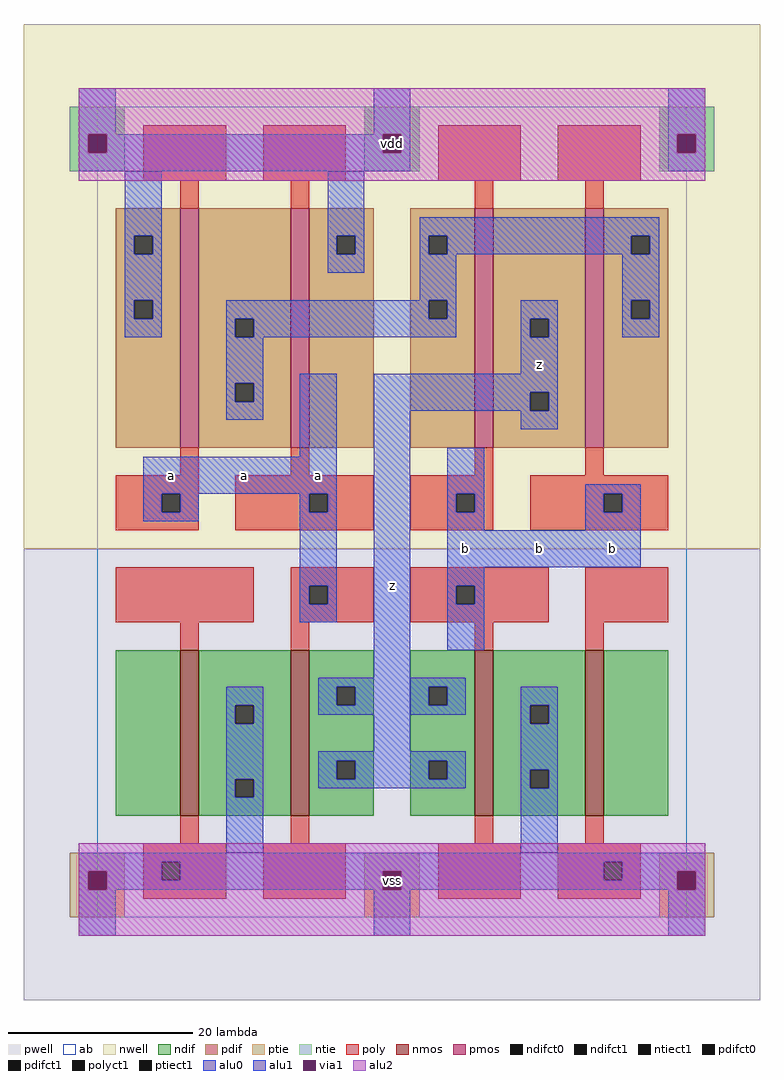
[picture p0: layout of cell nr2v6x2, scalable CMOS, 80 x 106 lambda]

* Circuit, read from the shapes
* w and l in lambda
.subckt nr2v6x2 a b vdd vss z
M1 vss vss n1 vss nfet w=18 l=2
M2 z a vss vss nfet w=18 l=2
M3 vss b z vss nfet w=18 l=2
M4 n2 vss vss vss nfet w=18 l=2
M5 n3 a vdd vdd pfet w=26 l=2 m=2
M6 z b n3 vdd pfet w=26 l=2 m=2
.ends

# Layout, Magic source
magic
tech scmos
<< ab >>
rect 0 0 64 88
<< nwell >>
rect -8 40 72 97
<< pwell >>
rect -8 -9 72 40
<< poly >>
rect 5 80 14 86
rect 18 80 27 86
rect 37 80 46 86
rect 50 80 59 86
rect 9 77 11 80
rect 21 77 23 80
rect 41 77 43 80
rect 53 77 55 80
rect 9 48 11 51
rect 21 48 23 51
rect 41 48 43 51
rect 53 48 55 51
rect 2 46 11 48
rect 2 44 7 46
rect 9 44 11 46
rect 2 42 11 44
rect 15 46 30 48
rect 15 44 23 46
rect 25 44 30 46
rect 15 42 30 44
rect 34 46 43 48
rect 34 44 39 46
rect 41 44 43 46
rect 34 42 43 44
rect 47 46 62 48
rect 47 44 55 46
rect 57 44 62 46
rect 47 42 62 44
rect 2 32 17 38
rect 21 36 30 38
rect 21 34 23 36
rect 25 34 30 36
rect 21 32 30 34
rect 34 36 49 38
rect 34 34 39 36
rect 41 34 49 36
rect 34 32 49 34
rect 53 32 62 38
rect 9 29 11 32
rect 21 29 23 32
rect 41 29 43 32
rect 53 29 55 32
rect 9 8 11 11
rect 21 8 23 11
rect 41 8 43 11
rect 53 8 55 11
rect 5 6 14 8
rect 5 4 7 6
rect 9 4 14 6
rect 5 2 14 4
rect 18 2 27 8
rect 37 2 46 8
rect 50 6 59 8
rect 50 4 55 6
rect 57 4 59 6
rect 50 2 59 4
<< ndif >>
rect 2 11 9 29
rect 11 23 21 29
rect 11 21 15 23
rect 17 21 21 23
rect 11 15 21 21
rect 11 13 15 15
rect 17 13 21 15
rect 11 11 21 13
rect 23 25 30 29
rect 23 23 26 25
rect 28 23 30 25
rect 23 17 30 23
rect 23 15 26 17
rect 28 15 30 17
rect 23 11 30 15
rect 34 25 41 29
rect 34 23 36 25
rect 38 23 41 25
rect 34 17 41 23
rect 34 15 36 17
rect 38 15 41 17
rect 34 11 41 15
rect 43 23 53 29
rect 43 21 47 23
rect 49 21 53 23
rect 43 16 53 21
rect 43 14 47 16
rect 49 14 53 16
rect 43 11 53 14
rect 55 11 62 29
<< pdif >>
rect 2 74 9 77
rect 2 72 4 74
rect 6 72 9 74
rect 2 67 9 72
rect 2 65 4 67
rect 6 65 9 67
rect 2 51 9 65
rect 11 65 21 77
rect 11 63 15 65
rect 17 63 21 65
rect 11 58 21 63
rect 11 56 15 58
rect 17 56 21 58
rect 11 51 21 56
rect 23 74 30 77
rect 23 72 26 74
rect 28 72 30 74
rect 23 51 30 72
rect 34 74 41 77
rect 34 72 36 74
rect 38 72 41 74
rect 34 67 41 72
rect 34 65 36 67
rect 38 65 41 67
rect 34 51 41 65
rect 43 65 53 77
rect 43 63 47 65
rect 49 63 53 65
rect 43 57 53 63
rect 43 55 47 57
rect 49 55 53 57
rect 43 51 53 55
rect 55 74 62 77
rect 55 72 58 74
rect 60 72 62 74
rect 55 67 62 72
rect 55 65 58 67
rect 60 65 62 67
rect 55 51 62 65
<< alu1 >>
rect -2 85 2 90
rect 30 85 34 90
rect -2 83 -1 85
rect 1 83 31 85
rect 33 83 34 85
rect -2 81 34 83
rect 62 85 66 90
rect 62 83 63 85
rect 65 83 66 85
rect 62 81 66 83
rect 46 65 50 67
rect 46 63 47 65
rect 49 63 50 65
rect 46 59 50 63
rect 22 50 26 59
rect 5 46 26 50
rect 5 44 7 46
rect 9 44 11 46
rect 5 43 11 44
rect 22 44 23 46
rect 25 44 26 46
rect 22 36 26 44
rect 22 34 23 36
rect 25 34 26 36
rect 22 32 26 34
rect 30 57 50 59
rect 30 55 47 57
rect 49 55 50 57
rect 30 26 34 55
rect 46 53 50 55
rect 38 46 42 51
rect 38 44 39 46
rect 41 44 42 46
rect 38 42 42 44
rect 53 46 59 47
rect 53 44 55 46
rect 57 44 59 46
rect 53 42 59 44
rect 38 38 59 42
rect 38 36 42 38
rect 38 34 39 36
rect 41 34 42 36
rect 38 29 42 34
rect 24 25 34 26
rect 24 23 26 25
rect 28 23 34 25
rect 24 22 34 23
rect 30 18 34 22
rect 24 17 40 18
rect 24 15 26 17
rect 28 15 36 17
rect 38 15 40 17
rect 24 14 40 15
rect -2 6 66 7
rect -2 5 7 6
rect -2 3 -1 5
rect 1 4 7 5
rect 9 5 55 6
rect 9 4 31 5
rect 1 3 31 4
rect 33 4 55 5
rect 57 5 66 6
rect 57 4 63 5
rect 33 3 63 4
rect 65 3 66 5
rect -2 -2 2 3
rect 30 -2 34 3
rect 62 -2 66 3
<< alu2 >>
rect -2 85 66 90
rect -2 83 -1 85
rect 1 83 31 85
rect 33 83 63 85
rect 65 83 66 85
rect -2 80 66 83
rect -2 5 66 8
rect -2 3 -1 5
rect 1 3 31 5
rect 33 3 63 5
rect 65 3 66 5
rect -2 -2 66 3
<< ptie >>
rect -3 5 3 7
rect -3 3 -1 5
rect 1 3 3 5
rect -3 0 3 3
rect 29 5 35 7
rect 29 3 31 5
rect 33 3 35 5
rect 29 0 35 3
rect 61 5 67 7
rect 61 3 63 5
rect 65 3 67 5
rect 61 0 67 3
<< ntie >>
rect -3 85 3 88
rect -3 83 -1 85
rect 1 83 3 85
rect -3 81 3 83
rect 29 85 35 88
rect 29 83 31 85
rect 33 83 35 85
rect 29 81 35 83
rect 61 85 67 88
rect 61 83 63 85
rect 65 83 67 85
rect 61 81 67 83
<< nmos >>
rect 9 11 11 29
rect 21 11 23 29
rect 41 11 43 29
rect 53 11 55 29
<< pmos >>
rect 9 51 11 77
rect 21 51 23 77
rect 41 51 43 77
rect 53 51 55 77
<< polyct1 >>
rect 7 44 9 46
rect 23 44 25 46
rect 39 44 41 46
rect 55 44 57 46
rect 23 34 25 36
rect 39 34 41 36
rect 7 4 9 6
rect 55 4 57 6
<< ndifct0 >>
rect 15 21 17 23
rect 15 13 17 15
rect 36 23 38 25
rect 47 21 49 23
rect 47 14 49 16
<< ndifct1 >>
rect 26 23 28 25
rect 26 15 28 17
rect 36 15 38 17
<< ntiect1 >>
rect -1 83 1 85
rect 31 83 33 85
rect 63 83 65 85
<< ptiect1 >>
rect -1 3 1 5
rect 31 3 33 5
rect 63 3 65 5
<< pdifct0 >>
rect 4 72 6 74
rect 4 65 6 67
rect 15 63 17 65
rect 15 56 17 58
rect 26 72 28 74
rect 36 72 38 74
rect 36 65 38 67
rect 58 72 60 74
rect 58 65 60 67
<< pdifct1 >>
rect 47 63 49 65
rect 47 55 49 57
<< alu0 >>
rect 3 74 7 81
rect 3 72 4 74
rect 6 72 7 74
rect 3 67 7 72
rect 25 74 29 81
rect 25 72 26 74
rect 28 72 29 74
rect 25 70 29 72
rect 35 74 61 76
rect 35 72 36 74
rect 38 72 58 74
rect 60 72 61 74
rect 35 67 39 72
rect 57 67 61 72
rect 3 65 4 67
rect 6 65 7 67
rect 3 63 7 65
rect 14 65 36 67
rect 38 65 39 67
rect 14 63 15 65
rect 17 63 39 65
rect 57 65 58 67
rect 60 65 61 67
rect 57 63 61 65
rect 14 58 18 63
rect 14 56 15 58
rect 17 56 18 58
rect 14 54 18 56
rect 34 25 40 26
rect 14 23 18 25
rect 14 21 15 23
rect 17 21 18 23
rect 34 23 36 25
rect 38 23 40 25
rect 34 22 40 23
rect 46 23 50 25
rect 14 15 18 21
rect 46 21 47 23
rect 49 21 50 23
rect 14 13 15 15
rect 17 13 18 15
rect 46 16 50 21
rect 46 14 47 16
rect 49 14 50 16
rect 14 7 18 13
rect 46 7 50 14
<< via1 >>
rect -1 83 1 85
rect 31 83 33 85
rect 63 83 65 85
rect -1 3 1 5
rect 31 3 33 5
rect 63 3 65 5
<< labels >>
rlabel alu1 8 48 8 48 6 a
rlabel alu1 24 48 24 48 6 a
rlabel alu1 16 48 16 48 6 a
rlabel alu1 32 36 32 36 6 z
rlabel alu1 40 40 40 40 6 b
rlabel alu1 48 40 48 40 6 b
rlabel alu1 56 40 56 40 6 b
rlabel alu1 48 60 48 60 6 z
rlabel via1 32 4 32 4 6 vss
rlabel via1 32 84 32 84 6 vdd
<< end >>
